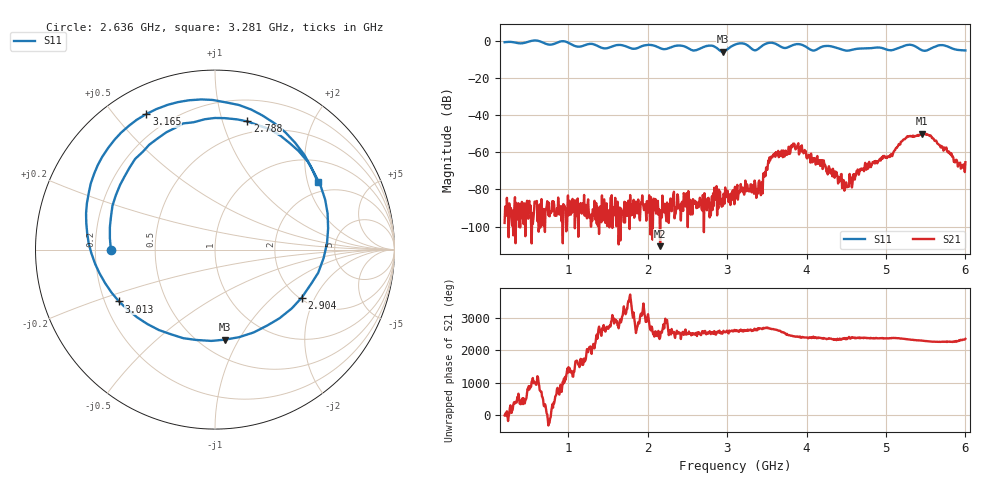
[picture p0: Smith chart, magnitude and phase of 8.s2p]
! NanoVNA-App by OneOfEleven et al v1.1.209 (+OD15)
! Date: 2024-07-30 15:24:19
! Start: 200MHz Stop: 6GHz Points: 801
! S-Parameter data: F S11 S21 S12 S22
# Hz S RI R 50
!  Frequency  S11_Real  S11_Imag  S21_Real  S21_Imag  S12_Real  S12_Imag  S22_Real  S22_Imag
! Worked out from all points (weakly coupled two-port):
!   801 points, 200 MHz to 6 GHz, reference 50 ohm
!   highest |S21| = -49.98 dB at 5.449 GHz (marker M1); lowest = -110.5 dB at 2.158 GHz (marker M2)
!   lowest |S11| = -5.9 dB at 2.948 GHz (marker M3), VSWR 3.04, Z = 32.7 - j44 ohm
!   |S11| at or under -10 dB: nowhere
!   S12 and S22 are empty: the file has one direction only
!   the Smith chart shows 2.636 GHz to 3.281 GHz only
!   S11 on the Smith chart (normalised r, x): 2.636 GHz: 0.27, -0.00; 2.788 GHz: 0.39, +1.21; 2.904 GHz: 2.05, -1.58; 3.013 GHz: 0.26, -0.24; 3.165 GHz: 0.11, +0.61; 3.281 GHz: 1.62, +2.31
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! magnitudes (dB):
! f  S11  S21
! 200 MHz  -0.8  -98.0
! 1.171 GHz  -3.0  -93.0
! 2.136 GHz  -3.6  -93.6
! 2.158 GHz  -4.0  -110.5
! 2.636 GHz  -4.7  -86.9
! 2.788 GHz  -2.7  -90.6
! 2.904 GHz  -5.2  -83.7
! 2.948 GHz  -5.9  -88.9
! 3.013 GHz  -4.3  -84.6
! 3.1 GHz  -2.1  -78.6
! 3.165 GHz  -1.4  -81.5
! 3.281 GHz  -3.3  -80.8
! 3.419 GHz  -3.5  -78.5
! 3.615 GHz  -1.8  -59.9
! 3.869 GHz  -1.9  -58.2
! 4.072 GHz  -5.2  -65.4
! 4.506 GHz  -5.4  -78.8
! 4.659 GHz  -4.3  -72.1
! 5.036 GHz  -5.1  -62.4
! 5.246 GHz  -2.6  -52.6
! 5.449 GHz  -5.1  -50.0
! 6 GHz  -5.3  -65.4
